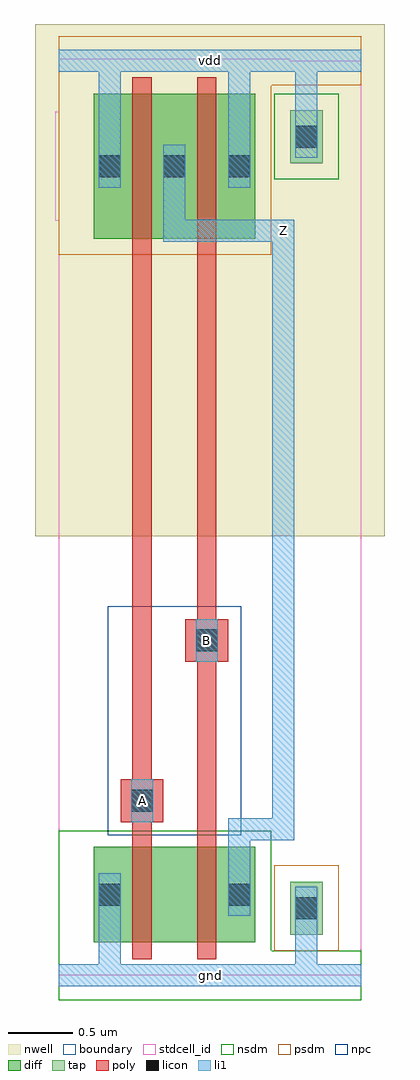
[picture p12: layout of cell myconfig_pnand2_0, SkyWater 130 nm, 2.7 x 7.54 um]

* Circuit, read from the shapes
.subckt myconfig_pnand2_0 A B Z gnd vdd
XM1 myconfig_nmos_m1_w0_740_sli_dactive_2/D A gnd gnd sky130_fd_pr__nfet_01v8 w=0.74 l=0.15
XM2 Z B myconfig_nmos_m1_w0_740_sli_dactive_2/D gnd sky130_fd_pr__nfet_01v8 w=0.74 l=0.15
XM3 Z A vdd vdd sky130_fd_pr__pfet_01v8 w=1.12 l=0.15
XM4 vdd B Z vdd sky130_fd_pr__pfet_01v8 w=1.12 l=0.15
.ends

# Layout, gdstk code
import gdstk
lib = gdstk.Library(unit=1e-6, precision=1e-09)
def R(c, l, rs):  # rectangles x0, y0, x1, y1
    for r in rs: c.add(gdstk.rectangle(r[:2], r[2:], *l))
nwell = (64, 20)
diff = (65, 20)
tap = (65, 44)
poly = (66, 20)
licon = (66, 44)
li1 = (67, 20)
stdcell_id = (81, 4)
nsdm = (93, 44)
psdm = (94, 20)
npc = (95, 20)
boundary = (235, 4)

myconfig_contact_11 = lib.new_cell('myconfig_contact_11')
R(myconfig_contact_11, nwell, [(-0.295,-0.255,0.545,0.585)])
R(myconfig_contact_11, diff, [(0,0.02,0.25,0.31)])
R(myconfig_contact_11, licon, [(0.04,0.08,0.21,0.25)])
R(myconfig_contact_11, li1, [(0.04,0,0.21,0.33)])
R(myconfig_contact_11, stdcell_id, [(-0.295,-0.255,0.545,0.585)])
R(myconfig_contact_11, psdm, [(-0.125,-0.105,0.375,0.435)])
R(myconfig_contact_11, boundary, [(-0.295,-0.255,0.545,0.585)])

myconfig_pmos_m1_w1_120_ = lib.new_cell('myconfig_pmos_m1_w1_120_sli_dli')
R(myconfig_pmos_m1_w1_120_, nwell, [(-0.27,-0.27,1.02,1.39)])
R(myconfig_pmos_m1_w1_120_, diff, [(0,0,0.75,1.12)])
R(myconfig_pmos_m1_w1_120_, poly, [(0.3,-0.13,0.45,1.25), (0.3,-0.13,0.45,1.25)])
R(myconfig_pmos_m1_w1_120_, li1, [(0.04,0.395,0.21,0.725), (0.54,0.395,0.71,0.725)])
R(myconfig_pmos_m1_w1_120_, stdcell_id, [(-0.27,-0.27,1.02,1.39)])
R(myconfig_pmos_m1_w1_120_, psdm, [(-0.125,-0.125,0.875,1.245)])
R(myconfig_pmos_m1_w1_120_, boundary, [(-0.27,-0.27,1.02,1.39)])
myconfig_pmos_m1_w1_120_.add(gdstk.Reference(myconfig_contact_11, (0,0.395)))
myconfig_pmos_m1_w1_120_.add(gdstk.Reference(myconfig_contact_11, (0.5,0.395)))
myconfig_pmos_m1_w1_120_.add(gdstk.Label('G', (0.375,0.56), layer=66, texttype=5))
myconfig_pmos_m1_w1_120_.add(gdstk.Label('S', (0.125,0.56), layer=67, texttype=5))
myconfig_pmos_m1_w1_120_.add(gdstk.Label('D', (0.625,0.56), layer=67, texttype=5))

myconfig_contact_10 = lib.new_cell('myconfig_contact_10')
R(myconfig_contact_10, diff, [(0,0.02,0.25,0.31)])
R(myconfig_contact_10, licon, [(0.04,0.08,0.21,0.25)])
R(myconfig_contact_10, li1, [(0.04,0,0.21,0.33)])
R(myconfig_contact_10, stdcell_id, [(-0.125,-0.105,0.375,0.435)])
R(myconfig_contact_10, nsdm, [(-0.125,-0.105,0.375,0.435)])
R(myconfig_contact_10, boundary, [(-0.125,-0.105,0.375,0.435)])

myconfig_nmos_m1_w0_740_ = lib.new_cell('myconfig_nmos_m1_w0_740_sli_dactive')
R(myconfig_nmos_m1_w0_740_, diff, [(0,0,0.75,0.74), (0.55,0.295,0.7,0.445)])
R(myconfig_nmos_m1_w0_740_, poly, [(0.3,-0.13,0.45,0.87), (0.3,-0.13,0.45,0.87)])
R(myconfig_nmos_m1_w0_740_, li1, [(0.04,0.205,0.21,0.535)])
R(myconfig_nmos_m1_w0_740_, stdcell_id, [(-0.125,-0.13,0.875,0.87)])
R(myconfig_nmos_m1_w0_740_, nsdm, [(-0.125,-0.125,0.875,0.865)])
R(myconfig_nmos_m1_w0_740_, boundary, [(-0.125,-0.13,0.875,0.87)])
myconfig_nmos_m1_w0_740_.add(gdstk.Reference(myconfig_contact_10, (0,0.205)))
myconfig_nmos_m1_w0_740_.add(gdstk.Label('G', (0.375,0.37), layer=66, texttype=5))
myconfig_nmos_m1_w0_740_.add(gdstk.Label('S', (0.125,0.37), layer=67, texttype=5))
myconfig_nmos_m1_w0_740_.add(gdstk.Label('D', (0.625,0.37), layer=65, texttype=5))

c_myconfig_nmos_m1_w0_740_ = lib.new_cell('myconfig_nmos_m1_w0_740_sactive_dli')
R(c_myconfig_nmos_m1_w0_740_, diff, [(0,0,0.75,0.74), (0.05,0.295,0.2,0.445)])
R(c_myconfig_nmos_m1_w0_740_, poly, [(0.3,-0.13,0.45,0.87), (0.3,-0.13,0.45,0.87)])
R(c_myconfig_nmos_m1_w0_740_, li1, [(0.54,0.205,0.71,0.535)])
R(c_myconfig_nmos_m1_w0_740_, stdcell_id, [(-0.125,-0.13,0.875,0.87)])
R(c_myconfig_nmos_m1_w0_740_, nsdm, [(-0.125,-0.125,0.875,0.865)])
R(c_myconfig_nmos_m1_w0_740_, boundary, [(-0.125,-0.13,0.875,0.87)])
c_myconfig_nmos_m1_w0_740_.add(gdstk.Reference(myconfig_contact_10, (0.5,0.205)))
c_myconfig_nmos_m1_w0_740_.add(gdstk.Label('G', (0.375,0.37), layer=66, texttype=5))
c_myconfig_nmos_m1_w0_740_.add(gdstk.Label('S', (0.125,0.37), layer=65, texttype=5))
c_myconfig_nmos_m1_w0_740_.add(gdstk.Label('D', (0.625,0.37), layer=67, texttype=5))

myconfig_contact_28 = lib.new_cell('myconfig_contact_28')
R(myconfig_contact_28, nwell, [(-0.295,-0.215,0.545,0.625)])
R(myconfig_contact_28, tap, [(0,0,0.25,0.41)])
R(myconfig_contact_28, licon, [(0.04,0.12,0.21,0.29)])
R(myconfig_contact_28, li1, [(0.04,0.04,0.21,0.37)])
R(myconfig_contact_28, stdcell_id, [(-0.295,-0.215,0.545,0.625)])
R(myconfig_contact_28, nsdm, [(-0.125,-0.125,0.375,0.535)])
R(myconfig_contact_28, boundary, [(-0.295,-0.215,0.545,0.625)])

myconfig_contact_29 = lib.new_cell('myconfig_contact_29')
R(myconfig_contact_29, tap, [(0,0,0.25,0.41)])
R(myconfig_contact_29, licon, [(0.04,0.12,0.21,0.29)])
R(myconfig_contact_29, li1, [(0.04,0.04,0.21,0.37)])
R(myconfig_contact_29, stdcell_id, [(-0.125,-0.125,0.375,0.535)])
R(myconfig_contact_29, psdm, [(-0.125,-0.125,0.375,0.535)])
R(myconfig_contact_29, boundary, [(-0.125,-0.125,0.375,0.535)])

myconfig_contact_15 = lib.new_cell('myconfig_contact_15')
R(myconfig_contact_15, poly, [(0,0,0.33,0.33)])
R(myconfig_contact_15, licon, [(0.08,0.08,0.25,0.25)])
R(myconfig_contact_15, li1, [(0.08,0,0.25,0.33)])
R(myconfig_contact_15, stdcell_id, [(-0.1,-0.1,0.43,0.43)])
R(myconfig_contact_15, npc, [(-0.1,-0.1,0.43,0.43)])
R(myconfig_contact_15, boundary, [(-0.1,-0.1,0.43,0.43)])

myconfig_pnand2_0 = lib.new_cell('myconfig_pnand2_0')
R(myconfig_pnand2_0, nwell, [(-0.18,3.395,2.52,7.355)])
R(myconfig_pnand2_0, poly, [(0.57,1.125,0.72,5.565), (1.07,1.125,1.22,5.565), (0.57,1.185,0.645,1.515), (1.07,2.425,1.145,2.755)])
R(myconfig_pnand2_0, li1, [(0,-0.085,2.34,0.085), (0.31,-0.085,0.48,0.46), (1.83,0,2,0.52), (1.31,0.79,1.48,1.13), (1.31,1.045,1.48,1.215), (1.395,1.045,1.735,1.215), (1.65,1.045,1.82,1.215), (1.65,1.13,1.82,5.755), (0.56,1.185,0.73,1.515), (1.06,2.425,1.23,2.755), (0.81,5.67,0.98,5.84), (0.895,5.67,1.735,5.84), (1.65,5.67,1.82,5.84), (0.81,5.755,0.98,6.09), (0.31,6.09,0.48,7.155), (1.31,6.09,1.48,7.155), (1.83,6.485,2,7.07), (0,6.985,2.34,7.155)])
R(myconfig_pnand2_0, stdcell_id, [(0,0,2.34,7.07), (0,0,2.34,7.07)])
R(myconfig_pnand2_0, nsdm, [(0,-0.19,2.34,0.19), (0,0,1.645,1.12)])
R(myconfig_pnand2_0, psdm, [(0,5.57,1.645,7.07), (0,6.88,2.34,7.26)])
R(myconfig_pnand2_0, npc, [(0.38,1.085,1.41,2.855)])
R(myconfig_pnand2_0, boundary, [(0,0,2.34,7.07), (0,0,2.34,7.07)])
myconfig_pnand2_0.add(gdstk.Reference(myconfig_pmos_m1_w1_120_, (0.27,5.695)))
myconfig_pnand2_0.add(gdstk.Reference(myconfig_pmos_m1_w1_120_, (0.77,5.695)))
myconfig_pnand2_0.add(gdstk.Reference(myconfig_nmos_m1_w0_740_, (0.27,0.255)))
myconfig_pnand2_0.add(gdstk.Reference(c_myconfig_nmos_m1_w0_740_, (0.77,0.255)))
myconfig_pnand2_0.add(gdstk.Reference(myconfig_contact_28, (1.79,6.28)))
myconfig_pnand2_0.add(gdstk.Reference(myconfig_contact_29, (1.79,0.315)))
myconfig_pnand2_0.add(gdstk.Reference(myconfig_contact_15, (0.48,1.185)))
myconfig_pnand2_0.add(gdstk.Reference(myconfig_contact_15, (0.98,2.425)))
myconfig_pnand2_0.add(gdstk.Label('Z', (1.735,5.755), layer=67, texttype=5))
myconfig_pnand2_0.add(gdstk.Label('gnd', (1.17,0), layer=67, texttype=5))
myconfig_pnand2_0.add(gdstk.Label('vdd', (1.17,7.07), layer=67, texttype=5))
myconfig_pnand2_0.add(gdstk.Label('A', (0.645,1.35), layer=67, texttype=5))
myconfig_pnand2_0.add(gdstk.Label('B', (1.145,2.59), layer=67, texttype=5))

lib.write_gds('myconfig_pnand2_0.gds')
